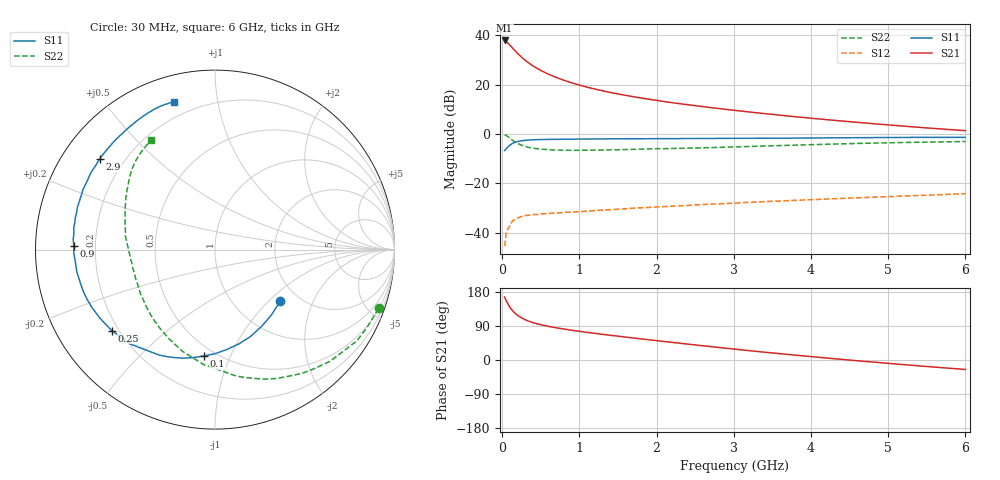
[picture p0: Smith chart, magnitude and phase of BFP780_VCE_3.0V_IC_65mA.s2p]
! Infineon Technologies  Discrete & RF Semiconductors
! BFP780
! VCE =  3.0 V,  IC =  65 mA
! Common Emitter S-Parameters:  Jul 2015
# GHz  S  MA  R  50
!  f  S11  S21  S12  S22
! GHz  MAG  ANG  MAG  ANG  MAG  ANG  MAG  ANG
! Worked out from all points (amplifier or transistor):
!   75 points, 30 MHz to 6 GHz, reference 50 ohm
!   highest |S21| = 37.8 dB at 30 MHz (marker M1)
!   |S21| within 3 dB of that: start of sweep to 131 MHz
!   unconditionally stable (mu >= 1): 1.863 GHz to end of sweep
!   at 150 MHz: K = 0.14, MSG = 34.5 dB, |S12| = -34.8 dB
!   at 2.3 GHz: K = 1.10, MAG = 18.7 dB, |S12| = -29.0 dB
!   at 6 GHz: K = 1.28, MAG = 9.6 dB, |S12| = -24.1 dB
!   S11 on the Smith chart (normalised r, x): 30 MHz: 1.62, -1.18; 100 MHz: 0.44, -0.80; 250 MHz: 0.17, -0.34; 900 MHz: 0.12, +0.01; 2.9 GHz: 0.11, +0.34; 6 GHz: 0.12, +0.75
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0.03  0.4627 -38.0  78 166.1  0.0054 75.4  0.9687 -19.8
0.05  0.5005 -58.7  74.44 156.9  0.0102 69.0  0.9408 -32.6
0.06  0.5236 -68.0  72.32 153.0  0.011 64.6  0.9116 -38.5
0.08  0.5603 -83.2  67.56 145.4  0.0127 58.4  0.8665 -49.6
0.1  0.5953 -95.8  62.48 139.0  0.0148 49.7  0.8181 -59.4
0.12  0.6296 -106.1  57.67 133.3  0.0161 48.0  0.7752 -68.6
0.15  0.6652 -118.1  51.17 126.4  0.0181 43.0  0.7167 -80.1
0.2  0.7077 -132.1  42.32 117.5  0.0201 36.2  0.6433 -95.7
0.25  0.7312 -141.9  35.74 111.0  0.0215 32.0  0.5949 -107.8
0.3  0.7463 -149.2  30.67 105.9  0.0225 28.4  0.5584 -117.5
0.35  0.7574 -154.7  26.79 101.8  0.0228 26.9  0.534 -125.4
0.45  0.7699 -162.6  21.27 95.6  0.0236 24.6  0.5047 -137.2
0.6  0.7797 -170.9  16.16 88.7  0.0248 22.6  0.4823 -149.4
0.9  0.7874 178.6  10.83 78.5  0.0264 22.5  0.4676 -164.3
1.1  0.7913 173.4  8.847 72.9  0.0275 23.0  0.4695 -170.9
1.5  0.7981 165.0  6.456 62.9  0.0302 24.3  0.4813 179.9
2.1  0.8078 154.4  4.53 48.8  0.0341 25.1  0.5058 169.9
2.9  0.8168 141.6  3.15 31.0  0.0394 24.4  0.5428 157.4
3.1  0.8194 138.6  2.905 26.7  0.0409 24.0  0.5544 154.4
4.1  0.8337 124.7  2.02 7.1  0.0477 21.3  0.6147 141.3
5.1  0.8523 113.5  1.486 -10.6  0.055 17.2  0.6697 130.1
6  0.8553 105.5  1.169 -25.0  0.0622 12.4  0.7058 120.1
